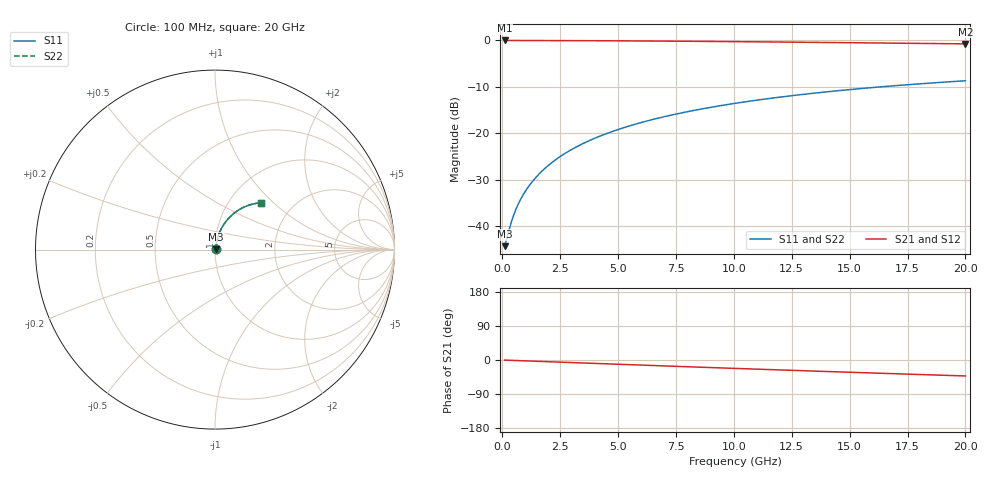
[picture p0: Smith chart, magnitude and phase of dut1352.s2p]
! Touchstone file exported from HFSS 2026.1.0
!  File:  C:/ffzhzh/LocalFiles/Ansys_Project_Files/temp_train_BSMRDL_1352_1783179043_55132.aedt
!  Generated:  11:31:52 PM Jul  4, 2026
!  Design:  BSMRDL
!  Project:  temp_train_BSMRDL_1352_1783179043_55132
! Variables:
!  h_bsmrdl = 3.14um
!  h_ox = 20um
!  h_rdl = 5um
!  h_sub = 80um
!  h_tmrdl = 5um
!  h_tsv = 80um
!  h_via = 3um
!  l_bsmrdl = 647.27um
!  l_sub = 1047.27um
!  l_tmrdl = 200um
!  m_sub = 200um
!  pitch = 29.52um
!  r_tsv = 6um
!  s_tmrdl = 10um
!  w_bsmrdl = 13.34um
!  w_sub = 500um
!  w_tmrdl = 12um
!  x_tsv_center1 = 206um
!  x_tsv_center2 = 866.61um
!  x_tsv_center3 = 1078.61um
!  x_tsv_center4 = 1739.22um
!  x_tsv_center5 = 1951.22um
!  x_tsv_center6 = 2611.83um
# GHz S MA R 50.000000
! Terminal data exported
! Port[1] = BSM_RDL1_1_T1
! Port[2] = BSM_RDL1_1_T2
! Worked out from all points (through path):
!   200 points, 100 MHz to 20 GHz, reference 50 ohm
!   highest |S21| = -0.05 dB at 100 MHz (marker M1); lowest = -0.8 dB at 20 GHz (marker M2)
!   group delay of S21, straight-line fit = 5.85 ps
!   lowest |S11| = -44.3 dB at 100 MHz (marker M3), VSWR 1.01, Z = 50.6 + j0.245 ohm
!   |S11| at or under -10 dB: start of sweep to 16.44 GHz
!   |S22| runs from -44.3 to -8.7 dB; largest |S21 - S12| = 3.8e-15
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0.1  0.006062 23.6  0.9945 -0.2  0.9945 -0.2  0.006062 23.6
! Gamma 0 0 0 0
! Port Impedance 50 0 50 0
0.3  0.009265 50.6  0.9942 -0.7  0.9942 -0.7  0.009265 50.6
0.4  0.01124 57.1  0.994 -0.9  0.994 -0.9  0.01124 57.1
0.5  0.01329 61.5  0.9938 -1.2  0.9938 -1.2  0.01329 61.5
0.6  0.01536 64.6  0.9937 -1.4  0.9937 -1.4  0.01536 64.6
0.7  0.01744 67.0  0.9935 -1.6  0.9935 -1.6  0.01744 67.0
0.9  0.02164 70.3  0.9932 -2.1  0.9932 -2.1  0.02164 70.3
1.2  0.02799 73.2  0.9929 -2.8  0.9929 -2.8  0.02799 73.2
1.4  0.03226 74.5  0.9926 -3.2  0.9926 -3.2  0.03226 74.5
1.7  0.0387 75.7  0.9923 -3.9  0.9923 -3.9  0.0387 75.6
2.2  0.04947 76.6  0.9916 -5.0  0.9916 -5.0  0.04948 76.6
2.8  0.06242 76.7  0.9906 -6.4  0.9906 -6.4  0.06242 76.7
3.5  0.07747 76.2  0.9892 -7.9  0.9892 -7.9  0.07748 76.2
4.2  0.09241 75.4  0.9875 -9.5  0.9875 -9.5  0.09241 75.4
5  0.1093 74.1  0.9853 -11.3  0.9853 -11.3  0.1093 74.1
5.9  0.128 72.6  0.9825 -13.3  0.9825 -13.3  0.128 72.5
6.8  0.1463 70.9  0.9793 -15.2  0.9793 -15.2  0.1463 70.9
8.3  0.176 67.9  0.9734 -18.5  0.9734 -18.5  0.176 67.9
10.1  0.2101 64.4  0.9655 -22.3  0.9655 -22.3  0.2101 64.3
13.4  0.2682 57.9  0.9493 -29.2  0.9493 -29.2  0.2682 57.8
16.7  0.3202 51.5  0.9319 -35.7  0.9319 -35.7  0.3202 51.5
20  0.366 45.4  0.9143 -42.1  0.9143 -42.1  0.366 45.4
